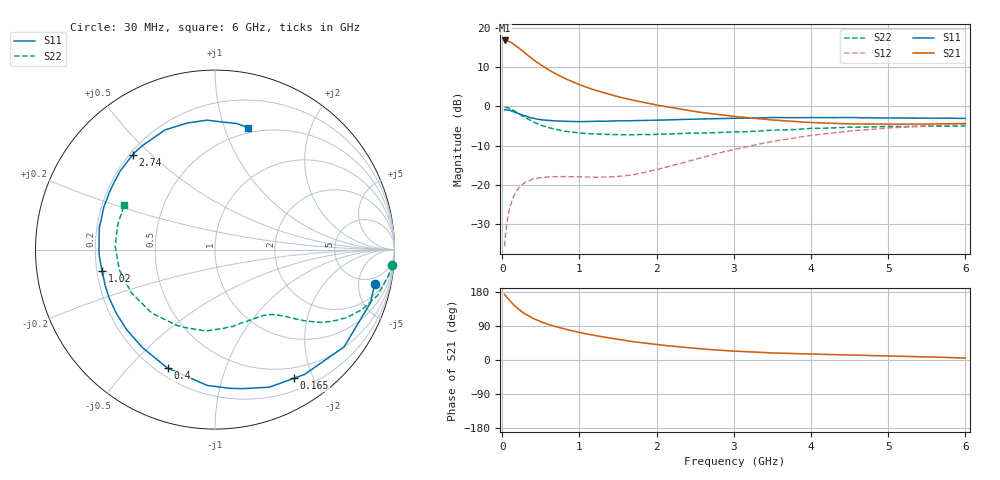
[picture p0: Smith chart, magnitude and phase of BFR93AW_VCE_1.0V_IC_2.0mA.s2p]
! Infineon Technologies  Discrete & RF Semiconductors
! BFR93AW
! VCE =  1.0 V,  IC =  2.0 mA
! Common Emitter S-Parameters:  Nov 2015
# GHz  S  MA  R  50
!  f  S11  S21  S12  S22
! GHz  MAG  ANG  MAG  ANG  MAG  ANG  MAG  ANG
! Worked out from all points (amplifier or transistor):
!   206 points, 30 MHz to 6 GHz, reference 50 ohm
!   highest |S21| = 16.9 dB at 30 MHz (marker M1)
!   |S21| within 3 dB of that: start of sweep to 280.5 MHz
!   unconditionally stable (mu >= 1): 1.195 GHz to 2.693 GHz; 5.101 GHz to end of sweep
!   at 200 MHz: K = 0.17, MSG = 18.2 dB, |S12| = -21.2 dB
!   at 1.56 GHz: K = 1.18, MAG = 7.4 dB, |S12| = -17.8 dB
!   at 6 GHz: K = 1.02, MAG = -0.8 dB, |S12| = -4.5 dB
!   S11 on the Smith chart (normalised r, x): 30 MHz: 3.50, -7.81; 165 MHz: 0.35, -1.73; 400 MHz: 0.24, -0.65; 1.02 GHz: 0.22, -0.09; 2.74 GHz: 0.21, +0.44; 6 GHz: 0.45, +1.21
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0.03  0.9099 -12.2  7.004 172.8  0.0163 82.1  0.9898 -4.9
0.05  0.9156 -18.8  6.992 167.6  0.0271 79.5  0.9798 -8.1
0.1  0.9006 -37.0  6.747 156.0  0.0521 70.3  0.9418 -15.7
0.15  0.8561 -54.3  6.265 145.0  0.0719 60.7  0.8853 -22.1
0.165  0.8412 -58.4  6.099 142.4  0.0764 58.4  0.867 -23.6
0.2  0.8242 -68.5  5.765 135.9  0.0874 53.9  0.8268 -27.3
0.26  0.7771 -84.0  5.151 126.4  0.1004 46.7  0.7578 -31.9
0.3  0.7582 -93.2  4.786 120.9  0.107 43.2  0.7179 -34.4
0.4  0.7111 -111.8  3.989 109.6  0.1182 36.3  0.6355 -38.6
0.5  0.6793 -126.4  3.403 100.7  0.1232 31.7  0.5755 -41.6
0.6  0.6647 -137.7  2.938 93.6  0.1256 29.1  0.5361 -43.8
0.8  0.6485 -155.4  2.313 82.0  0.1267 26.8  0.4841 -48.4
1.02  0.6399 -169.2  1.872 71.9  0.1253 28.3  0.4573 -53.3
1.04  0.6404 -170.3  1.841 71.1  0.1252 28.5  0.4556 -54.0
1.2  0.6469 -178.5  1.619 64.7  0.1242 31.3  0.4456 -58.2
1.5  0.6559 169.3  1.335 54.5  0.1274 39.2  0.4378 -67.1
2.02  0.67 151.1  1.036 40.2  0.1574 53.4  0.4418 -84.2
2.74  0.6988 131.0  0.803 26.9  0.2443 60.0  0.4621 -108.8
3.1  0.7074 122.0  0.732 22.6  0.2957 58.2  0.4743 -120.7
4.1  0.7208 100.6  0.618 15.2  0.4372 45.9  0.5255 -155.8
5.1  0.7114 85.2  0.595 10.3  0.5373 31.1  0.5549 175.5
6  0.7041 74.7  0.606 5.1  0.5978 19.4  0.5638 153.9
